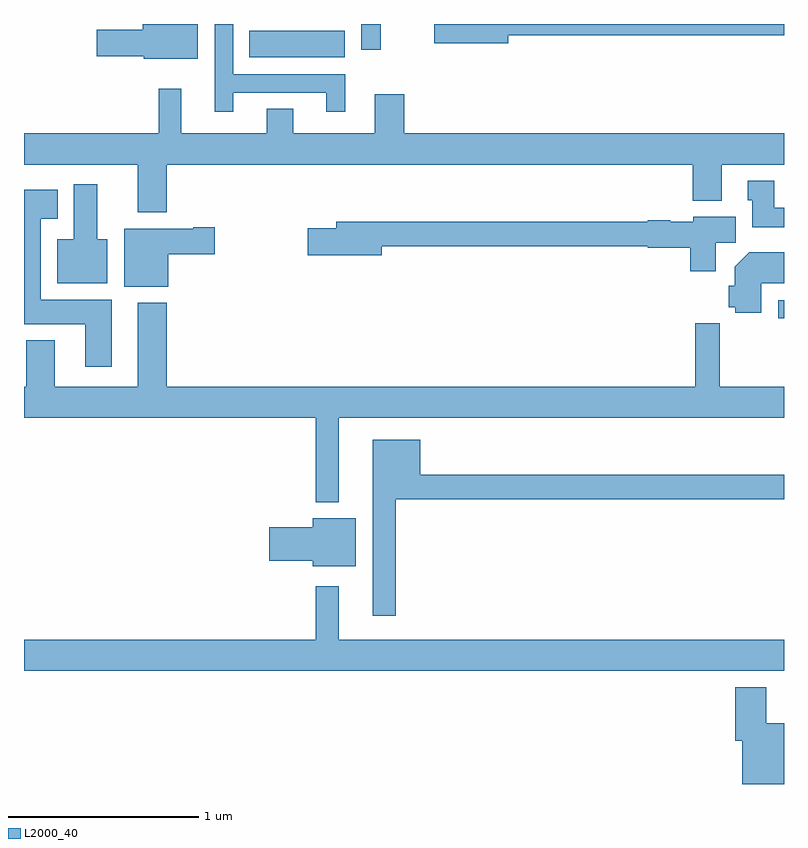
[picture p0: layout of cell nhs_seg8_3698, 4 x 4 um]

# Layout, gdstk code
import gdstk
lib = gdstk.Library(unit=1e-6, precision=1e-09)
def R(c, l, rs):  # rectangles x0, y0, x1, y1
    for r in rs: c.add(gdstk.rectangle(r[:2], r[2:], *l))
def P(c, l, *ps):  # polygons
    for p in ps: c.add(gdstk.Polygon(p, *l))
L2000_40 = (2000, 40)

nhs_seg8_3698 = lib.new_cell('nhs_seg8_3698')
R(nhs_seg8_3698, L2000_40, [(342.969,1122.351,343,1122.447), (340.186,1123.724,340.687,1123.864), (340.776,1123.764,340.877,1123.9)])
P(nhs_seg8_3698, L2000_40, [(339.915,1123.9),(339.626,1123.9),(339.626,1123.871),(339.384,1123.871),(339.384,1123.729),(339.63,1123.729),(339.63,1123.718),(339.915,1123.718)],
  [(341.548,1123.84),(343,1123.84),(343,1123.9),(341.16,1123.9),(341.16,1123.798),(341.548,1123.798)],
  [(340.102,1123.539),(340.592,1123.539),(340.592,1123.437),(340.69,1123.437),(340.69,1123.635),(340.101,1123.635),(340.101,1123.9),(340.005,1123.9),(340.005,1123.437),(340.102,1123.437)],
  [(339.752,1123.16),(342.521,1123.16),(342.521,1122.971),(342.673,1122.971),(342.673,1123.16),(343,1123.16),(343,1123.324),(341,1123.324),(341,1123.531),(340.847,1123.531),(340.847,1123.324),(340.417,1123.324),(340.417,1123.454),(340.277,1123.454),(340.277,1123.324),(339.827,1123.324),(339.827,1123.558),(339.709,1123.558),(339.709,1123.324),(339,1123.324),(339,1123.16),(339.599,1123.16),(339.599,1122.908),(339.752,1122.908)],
  [(343,1122.934),(342.949,1122.934),(342.949,1123.075),(342.809,1123.075),(342.809,1122.972),(342.833,1122.972),(342.833,1122.83),(343,1122.83)],
  [(339.439,1122.766),(339.385,1122.766),(339.385,1123.057),(339.263,1123.057),(339.263,1122.766),(339.176,1122.766),(339.176,1122.536),(339.439,1122.536)],
  [(339.463,1122.448),(339.088,1122.448),(339.088,1122.875),(339.178,1122.875),(339.178,1123.027),(339,1123.027),(339,1122.32),(339.323,1122.32),(339.323,1122.096),(339.463,1122.096)],
  [(342.64,1122.748),(342.745,1122.748),(342.745,1122.886),(342.522,1122.886),(342.522,1122.859),(342.402,1122.859),(342.402,1122.867),(342.282,1122.867),(342.282,1122.859),(340.643,1122.859),(340.643,1122.825),(340.494,1122.825),(340.494,1122.683),(340.882,1122.683),(340.882,1122.73),(342.282,1122.73),(342.282,1122.722),(342.506,1122.722),(342.506,1122.6),(342.64,1122.6)],
  [(339.76,1122.689),(340.003,1122.689),(340.003,1122.831),(339.89,1122.831),(339.89,1122.823),(339.527,1122.823),(339.527,1122.518),(339.76,1122.518)],
  [(342.88,1122.536),(343,1122.536),(343,1122.7),(342.818,1122.7),(342.74,1122.622),(342.74,1122.522),(342.71,1122.522),(342.71,1122.408),(342.744,1122.408),(342.744,1122.379),(342.88,1122.379)],
  [(340.657,1121.828),(343,1121.828),(343,1121.992),(342.661,1121.992),(342.661,1122.325),(342.532,1122.325),(342.532,1121.992),(339.752,1121.992),(339.752,1122.433),(339.599,1122.433),(339.599,1121.992),(339.163,1121.992),(339.163,1122.235),(339.011,1122.235),(339.011,1121.992),(339,1121.992),(339,1121.828),(340.536,1121.828),(340.536,1121.384),(340.657,1121.384)],
  [(340.957,1121.398),(343,1121.398),(343,1121.527),(341.086,1121.527),(341.086,1121.713),(340.835,1121.713),(340.835,1120.785),(340.957,1120.785)],
  [(340.747,1121.299),(340.52,1121.299),(340.52,1121.252),(340.29,1121.252),(340.29,1121.074),(340.52,1121.074),(340.52,1121.045),(340.747,1121.045)],
  [(343,1120.66),(340.657,1120.66),(340.657,1120.942),(340.536,1120.942),(340.536,1120.66),(339,1120.66),(339,1120.496),(343,1120.496)],
  [(343,1120.221),(342.907,1120.221),(342.907,1120.408),(342.743,1120.408),(342.743,1120.128),(342.779,1120.128),(342.779,1119.9),(343,1119.9)])

lib.write_gds('nhs_seg8_3698.gds')
